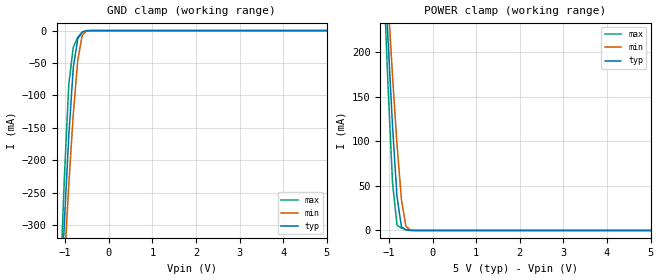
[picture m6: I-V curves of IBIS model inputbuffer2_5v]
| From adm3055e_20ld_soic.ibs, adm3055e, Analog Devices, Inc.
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|   Model: inputbuffer2_5v
[Model]   inputbuffer2_5v
Model_type Input
Vinl=1.75
Vinh=3.25
|   variable   typ   min   max
C_comp   1.308839e-12 1.276448e-12 1.400631e-12
[Temperature Range]   25   105   -40
[Voltage Range]   5   4.5   5.5
[Power Clamp Reference] 5   4.5   5.5
[GND Clamp Reference]   0   0   0
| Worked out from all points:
|   GND clamp passes 1 mA (typ) near -0.55 V on its own axis
|   POWER clamp passes 1 mA (typ) near -0.62 V on its own axis
[Power_clamp]
| Voltage   I(typ)   I(min)   I(max)
-5V       5.283A     4.513A     6.205A
-1.122V   316.6mA    348.1mA    283.2mA
-1.02V    212.1mA    256.9mA    159.8mA
-918.4mV  116.1mA    172.2mA    53.12mA
-816.3mV  37.48mA    95.95mA    5.934mA
-714.3mV  4.076mA    34.52mA    2.523mA
-612.2mV  739.7uA    4.677mA    881.6uA
-510.2mV  120.7uA    349.4uA    116uA
5V        -139.7pA   -16.63uA   -114.7pA
[GND_clamp]
| Voltage   I(typ)   I(min)   I(max)
-5V       -7.998A    -6.783A    -9.535A
-1.122V   -448.8mA   -498.7mA   -403.2mA
-1.02V    -296.2mA   -361.1mA   -227mA
-918.4mV  -162mA     -236.9mA   -82.35mA
-816.3mV  -57.53mA   -129.4mA   -25.82mA
-714.3mV  -12.94mA   -46.45mA   -10.33mA
-612.2mV  -2.281mA   -7.41mA    -2.38mA
-510.2mV  -164.9uA   -528.8uA   -148.9uA
-408.2mV  -5.412uA   -26.53uA   -2.378uA
5V        136pA      12.26uA    129.8pA
